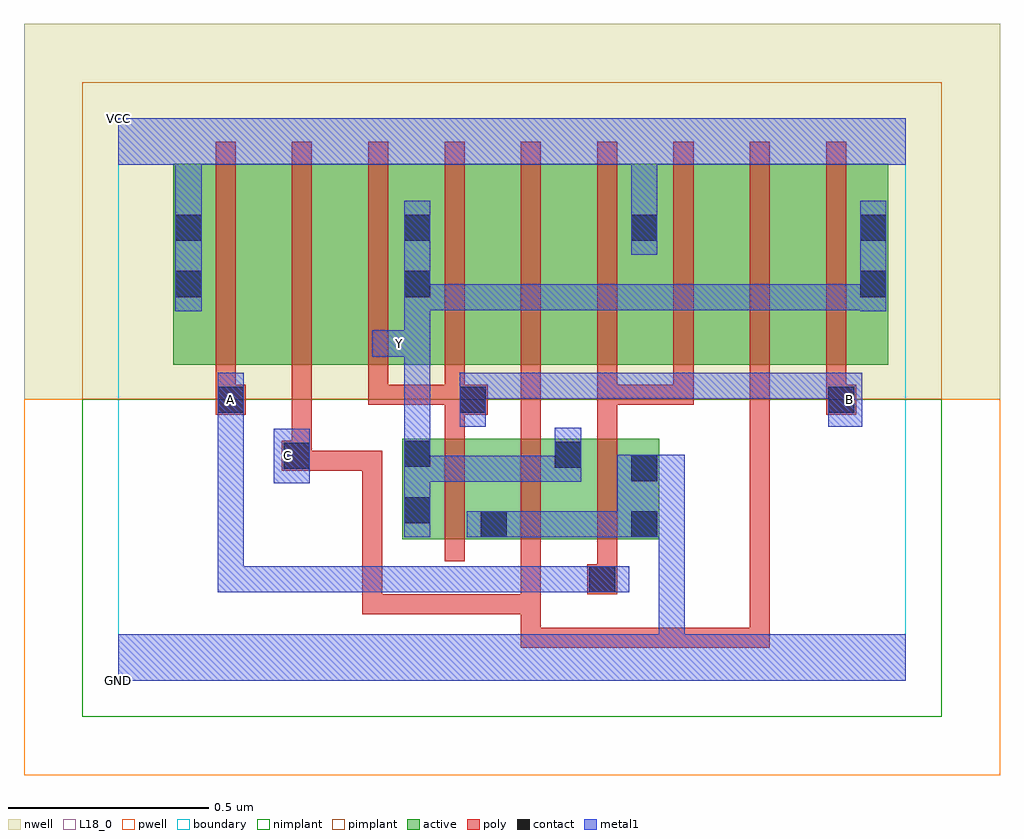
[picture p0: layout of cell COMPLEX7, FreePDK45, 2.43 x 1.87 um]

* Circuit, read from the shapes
.subckt COMPLEX7 A B C GND VCC Y
M1 GND B Y VSUBS nfet w=0.25u l=0.05u
M2 Y C GND VSUBS nfet w=0.25u l=0.05u
M3 GND A Y VSUBS nfet w=0.25u l=0.05u
M4 n1 A VCC n2 pfet w=0.5u l=0.05u
M5 n3 C n1 n2 pfet w=0.5u l=0.05u
M6 Y B n3 n2 pfet w=0.5u l=0.05u
M7 n4 B Y n2 pfet w=0.5u l=0.05u
M8 n5 C n4 n2 pfet w=0.5u l=0.05u
M9 VCC A n5 n2 pfet w=0.5u l=0.05u
M10 n6 A VCC n2 pfet w=0.5u l=0.05u
M11 n7 C n6 n2 pfet w=0.5u l=0.05u
M12 Y B n7 n2 pfet w=0.5u l=0.05u
.ends

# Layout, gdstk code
import gdstk
lib = gdstk.Library(unit=1e-6, precision=1e-09)
def R(c, l, rs):  # rectangles x0, y0, x1, y1
    for r in rs: c.add(gdstk.rectangle(r[:2], r[2:], *l))
def A(c, l, x, y, w, h, nx, ny, dx, dy):  # array of equal rectangles
    R(c, l, [(x+i*dx, y+j*dy, x+i*dx+w, y+j*dy+h) for i in range(nx) for j in range(ny)])
active = (1, 0)
pwell = (2, 0)
nwell = (3, 0)
nimplant = (4, 0)
pimplant = (5, 0)
poly = (9, 0)
contact = (10, 0)
metal1 = (11, 0)
L18_0 = (18, 0)
boundary = (235, 0)

complex7 = lib.new_cell('COMPLEX7')
A(complex7, active, 0.362, 0.787, 0.19, 0.5, 3, 1, 0.57, 0)
R(complex7, active, [(0.707,0.352,0.972,0.602), (0.897,0.352,1.157,0.602), (0.897,0.352,0.972,0.497), (1.082,0.352,1.347,0.602), (1.272,0.352,1.347,0.602), (0.707,0.382,0.782,0.602), (1.082,0.395,1.157,0.6), (0.137,0.787,0.362,1.287), (0.137,0.787,0.212,1.255), (0.552,0.787,0.782,1.287), (0.707,0.787,0.932,1.287), (1.122,0.787,1.347,1.287), (1.272,0.787,1.502,1.287), (1.692,0.787,1.917,1.287), (1.842,0.787,1.917,1.2), (0.707,0.807,0.782,1.2), (1.272,0.807,1.347,1.255)])
R(complex7, pwell, [(-0.235,-0.235,2.195,0.7)])
R(complex7, nwell, [(-0.235,0.7,2.195,1.635)])
R(complex7, nimplant, [(-0.09,-0.09,2.05,0.7)])
R(complex7, pimplant, [(-0.09,0.7,2.05,1.49)])
A(complex7, poly, 0.812, 0.297, 0.05, 0.36, 3, 1, 0.19, 0)
A(complex7, poly, 0.622, 0.687, 0.05, 0.095, 5, 1, 0.19, 0)
A(complex7, poly, 0.812, 0.687, 0.05, 0.05, 4, 1, 0.19, 0)
A(complex7, poly, 0.242, 0.732, 0.05, 0.61, 9, 1, 0.19, 0)
R(complex7, poly, [(1.002,0.082,1.052,0.132), (1.002,0.082,1.185,0.132), (1.002,0.082,1.052,0.215), (1.135,0.082,1.185,0.132), (1.135,0.082,1.3,0.132), (1.25,0.082,1.3,0.132), (1.25,0.082,1.432,0.132), (1.382,0.082,1.432,0.132), (1.382,0.082,1.432,0.132), (1.382,0.082,1.432,0.132), (1.382,0.082,1.432,0.132), (1.382,0.082,1.432,0.132), (1.382,0.082,1.432,0.132), (1.382,0.082,1.432,0.132), (1.382,0.082,1.622,0.132), (1.572,0.082,1.622,0.782), (1.572,0.082,1.622,0.132), (1.572,0.082,1.622,0.132), (1.572,0.082,1.622,0.132), (1.572,0.082,1.622,0.132), (1.572,0.082,1.622,0.132), (1.572,0.082,1.622,0.132), (1.572,0.082,1.622,0.132), (0.607,0.165,0.657,0.215), (0.607,0.165,0.657,0.215), (0.607,0.165,0.657,0.215), (0.607,0.165,0.805,0.215), (0.607,0.165,0.657,0.572), (0.755,0.165,0.805,0.215), (0.755,0.165,1.052,0.215), (1.002,0.165,1.052,0.215), (1.002,0.165,1.052,0.215), (1.002,0.165,1.052,0.215), (1.002,0.165,1.052,0.347), (1.167,0.215,1.242,0.29), (1.192,0.24,1.242,0.347), (0.407,0.522,0.482,0.597), (0.432,0.522,0.482,0.572), (0.432,0.522,0.482,0.572), (0.432,0.522,0.482,0.572), (0.432,0.522,0.482,0.572), (0.432,0.522,0.482,0.572), (0.432,0.522,0.482,0.572), (0.432,0.522,0.657,0.572), (0.607,0.522,0.657,0.572), (0.432,0.547,0.482,0.782), (0.812,0.607,0.862,0.712), (1.002,0.607,1.052,0.737), (1.192,0.607,1.242,0.737), (0.242,0.662,0.317,0.737), (0.812,0.662,0.92,0.737), (1.762,0.662,1.837,0.737), (0.242,0.687,0.292,0.782), (0.622,0.687,0.672,0.737), (0.622,0.687,0.862,0.737), (0.812,0.687,0.862,0.737), (1.192,0.687,1.432,0.737), (1.382,0.687,1.432,0.737), (1.382,0.687,1.432,0.737), (1.762,0.687,1.812,0.782)])
R(complex7, contact, [(1.172,0.22,1.237,0.285), (0.902,0.357,0.967,0.422), (1.277,0.357,1.342,0.422), (0.712,0.392,0.777,0.457), (1.277,0.497,1.342,0.562), (0.412,0.527,0.477,0.592), (1.087,0.53,1.152,0.595), (0.712,0.532,0.777,0.597), (0.247,0.667,0.312,0.732), (0.85,0.667,0.915,0.732), (1.767,0.667,1.832,0.732), (0.142,0.955,0.207,1.02), (0.712,0.955,0.777,1.02), (1.847,0.955,1.912,1.02), (0.142,1.095,0.207,1.16), (0.712,1.095,0.777,1.16), (1.277,1.095,1.342,1.16), (1.847,1.095,1.912,1.16)])
R(complex7, metal1, [(0,0,1.96,0.115), (1.345,0.05,1.41,0.422), (0.247,0.22,0.312,0.285), (0.247,0.22,0.45,0.285), (0.247,0.22,0.312,0.697), (0.385,0.22,0.45,0.285), (0.385,0.22,0.45,0.285), (0.385,0.22,0.45,0.285), (0.385,0.22,0.45,0.285), (0.385,0.22,0.45,0.285), (0.385,0.22,0.64,0.285), (0.575,0.22,0.64,0.285), (0.575,0.22,0.777,0.285), (0.712,0.22,0.777,0.285), (0.712,0.22,0.777,0.285), (0.712,0.22,0.777,0.285), (0.712,0.22,0.777,0.285), (0.712,0.22,0.777,0.285), (0.712,0.22,1.002,0.285), (0.937,0.22,1.002,0.285), (0.937,0.22,1.052,0.285), (0.987,0.22,1.052,0.285), (0.987,0.22,1.17,0.285), (1.105,0.22,1.17,0.285), (1.105,0.22,1.202,0.285), (1.137,0.22,1.272,0.285), (0.712,0.357,0.777,0.632), (0.867,0.357,1.002,0.422), (0.937,0.357,1.065,0.422), (1,0.357,1.065,0.422), (1,0.357,1.17,0.422), (1.105,0.357,1.17,0.422), (1.105,0.357,1.307,0.422), (1.242,0.357,1.307,0.422), (1.242,0.357,1.307,0.422), (1.242,0.357,1.41,0.562), (1.345,0.357,1.41,0.422), (1.345,0.357,1.41,0.422), (1.345,0.357,1.41,0.422), (1.345,0.357,1.41,0.422), (1.345,0.357,1.41,0.422), (1.345,0.357,1.41,0.422), (0.387,0.492,0.477,0.627), (0.712,0.495,0.777,0.56), (0.712,0.495,0.777,0.56), (0.712,0.495,0.965,0.56), (0.9,0.495,0.965,0.56), (0.9,0.495,1.052,0.56), (0.987,0.495,1.052,0.56), (0.987,0.495,1.152,0.56), (1.087,0.495,1.152,0.63), (0.712,0.567,0.777,0.872), (0.247,0.632,0.312,0.697), (0.247,0.632,0.312,0.697), (0.247,0.632,0.312,0.767), (0.85,0.632,0.915,0.767), (1.767,0.632,1.852,0.767), (0.85,0.702,0.915,0.767), (0.85,0.702,0.915,0.767), (0.85,0.702,1.065,0.767), (1,0.702,1.065,0.767), (1,0.702,1.17,0.767), (1.105,0.702,1.17,0.767), (1.105,0.702,1.202,0.767), (1.137,0.702,1.202,0.767), (1.137,0.702,1.445,0.767), (1.38,0.702,1.445,0.767), (1.38,0.702,1.445,0.767), (1.38,0.702,1.445,0.767), (1.38,0.702,1.617,0.767), (1.552,0.702,1.617,0.767), (1.552,0.702,1.617,0.767), (1.552,0.702,1.617,0.767), (1.552,0.702,1.755,0.767), (1.69,0.702,1.755,0.767), (1.69,0.702,1.832,0.767), (0.632,0.807,0.777,0.872), (0.712,0.807,0.777,0.985), (0.142,0.92,0.207,1.195), (0.712,0.92,0.777,1.195), (1.847,0.92,1.912,1.195), (0.712,0.922,0.777,0.987), (0.712,0.922,0.777,0.987), (0.712,0.922,1.002,0.987), (0.937,0.922,1.002,0.987), (0.937,0.922,1.052,0.987), (0.987,0.922,1.052,0.987), (0.987,0.922,1.14,0.987), (1.075,0.922,1.14,0.987), (1.075,0.922,1.307,0.987), (1.242,0.922,1.307,0.987), (1.242,0.922,1.307,0.987), (1.242,0.922,1.307,0.987), (1.242,0.922,1.462,0.987), (1.397,0.922,1.462,0.987), (1.397,0.922,1.6,0.987), (1.535,0.922,1.6,0.987), (1.535,0.922,1.6,0.987), (1.535,0.922,1.6,0.987), (1.535,0.922,1.775,0.987), (1.71,0.922,1.775,0.987), (1.71,0.922,1.912,0.987), (1.847,0.922,1.912,0.987), (1.847,0.922,1.912,0.987), (1.277,1.06,1.342,1.195), (0.142,1.13,0.207,1.35), (1.277,1.13,1.342,1.35), (0,1.285,1.96,1.4)])
R(complex7, L18_0, [(0,0,1.96,0.115), (1.345,0.05,1.41,0.422), (0.247,0.22,0.312,0.285), (0.247,0.22,0.312,0.697), (0.247,0.22,0.45,0.285), (0.385,0.22,0.45,0.285), (0.385,0.22,0.45,0.285), (0.385,0.22,0.45,0.285), (0.385,0.22,0.45,0.285), (0.385,0.22,0.45,0.285), (0.385,0.22,0.64,0.285), (0.575,0.22,0.64,0.285), (0.575,0.22,0.777,0.285), (0.712,0.22,0.777,0.285), (0.712,0.22,0.777,0.285), (0.712,0.22,0.777,0.285), (0.712,0.22,0.777,0.285), (0.712,0.22,0.777,0.285), (0.712,0.22,1.002,0.285), (0.937,0.22,1.002,0.285), (0.937,0.22,1.052,0.285), (0.987,0.22,1.052,0.285), (0.987,0.22,1.17,0.285), (1.105,0.22,1.17,0.285), (1.105,0.22,1.202,0.285), (1.137,0.22,1.272,0.285), (0.712,0.357,0.777,0.632), (0.867,0.357,1.002,0.422), (0.937,0.357,1.065,0.422), (1,0.357,1.065,0.422), (1,0.357,1.17,0.422), (1.105,0.357,1.17,0.422), (1.105,0.357,1.307,0.422), (1.242,0.357,1.307,0.422), (1.242,0.357,1.307,0.422), (1.242,0.357,1.41,0.562), (1.345,0.357,1.41,0.422), (1.345,0.357,1.41,0.422), (1.345,0.357,1.41,0.422), (1.345,0.357,1.41,0.422), (1.345,0.357,1.41,0.422), (1.345,0.357,1.41,0.422), (0.387,0.492,0.477,0.627), (0.712,0.495,0.777,0.56), (0.712,0.495,0.777,0.56), (0.712,0.495,0.965,0.56), (0.9,0.495,0.965,0.56), (0.9,0.495,1.052,0.56), (0.987,0.495,1.052,0.56), (0.987,0.495,1.152,0.56), (1.087,0.495,1.152,0.63), (0.387,0.527,0.452,0.592), (0.712,0.567,0.777,0.872), (0.247,0.632,0.312,0.767), (0.247,0.632,0.312,0.697), (0.247,0.632,0.312,0.697), (0.85,0.632,0.915,0.767), (1.767,0.632,1.852,0.767), (0.247,0.667,0.312,0.732), (1.787,0.667,1.852,0.732), (0.85,0.702,0.915,0.767), (0.85,0.702,0.915,0.767), (0.85,0.702,1.065,0.767), (1,0.702,1.065,0.767), (1,0.702,1.17,0.767), (1.105,0.702,1.17,0.767), (1.105,0.702,1.202,0.767), (1.137,0.702,1.202,0.767), (1.137,0.702,1.445,0.767), (1.38,0.702,1.445,0.767), (1.38,0.702,1.445,0.767), (1.38,0.702,1.445,0.767), (1.38,0.702,1.617,0.767), (1.552,0.702,1.617,0.767), (1.552,0.702,1.617,0.767), (1.552,0.702,1.617,0.767), (1.552,0.702,1.755,0.767), (1.69,0.702,1.755,0.767), (1.69,0.702,1.832,0.767), (0.632,0.807,0.777,0.872), (0.667,0.807,0.732,0.872), (0.712,0.807,0.777,0.985), (0.142,0.92,0.207,1.195), (0.712,0.92,0.777,1.195), (1.847,0.92,1.912,1.195), (0.712,0.922,0.777,0.987), (0.712,0.922,0.777,0.987), (0.712,0.922,1.002,0.987), (0.937,0.922,1.002,0.987), (0.937,0.922,1.052,0.987), (0.987,0.922,1.052,0.987), (0.987,0.922,1.14,0.987), (1.075,0.922,1.14,0.987), (1.075,0.922,1.307,0.987), (1.242,0.922,1.307,0.987), (1.242,0.922,1.307,0.987), (1.242,0.922,1.307,0.987), (1.242,0.922,1.462,0.987), (1.397,0.922,1.462,0.987), (1.397,0.922,1.6,0.987), (1.535,0.922,1.6,0.987), (1.535,0.922,1.6,0.987), (1.535,0.922,1.6,0.987), (1.535,0.922,1.775,0.987), (1.71,0.922,1.775,0.987), (1.71,0.922,1.912,0.987), (1.847,0.922,1.912,0.987), (1.847,0.922,1.912,0.987), (1.277,1.06,1.342,1.195), (0.142,1.13,0.207,1.35), (1.277,1.13,1.342,1.35), (0,1.285,1.96,1.4)])
R(complex7, boundary, [(0,0,1.96,1.4)])
complex7.add(gdstk.Label('A', (0.28,0.7), layer=11, texttype=0))
complex7.add(gdstk.Label('B', (1.82,0.7), layer=11, texttype=0))
complex7.add(gdstk.Label('C', (0.42,0.56), layer=11, texttype=0))
complex7.add(gdstk.Label('Y', (0.7,0.84), layer=11, texttype=0))
complex7.add(gdstk.Label('VCC', (0,1.4), layer=11, texttype=0))
complex7.add(gdstk.Label('GND', (0,0), layer=11, texttype=0))

lib.write_gds('COMPLEX7.gds')
